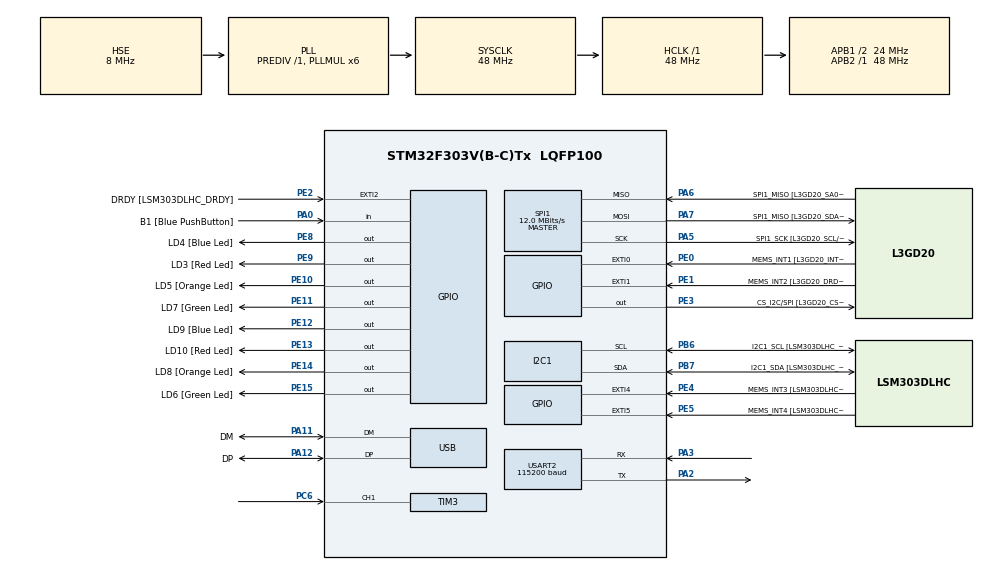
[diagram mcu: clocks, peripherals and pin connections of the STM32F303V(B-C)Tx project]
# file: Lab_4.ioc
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I2C1.Timing=0x00201D2B
I2C1.Timing-I2C=0x2000090E
Mcu.Family=STM32F3
Mcu.Name=STM32F303V(B-C)Tx
Mcu.Package=LQFP100
NVIC.PriorityGroup=NVIC_PRIORITYGROUP_0
NVIC.TIM2_IRQn=true\:0\:0\:false\:false\:true\:true\:true\:true
NVIC.TIM3_IRQn=true\:0\:0\:false\:false\:true\:true\:true\:true
PA0.GPIO_Label=B1 [Blue PushButton]
PA0.Signal=GPIO_Input
PA11.GPIO_Label=DM
PA11.Mode=Device
PA11.Signal=USB_DM
PA12.GPIO_Label=DP
PA12.Mode=Device
PA12.Signal=USB_DP
PA13.GPIO_Label=SWDIO
PA13.Mode=Serial_Wire
PA13.Signal=SYS_JTMS-SWDIO
PA14.GPIO_Label=SWCLK
PA14.Mode=Serial_Wire
PA14.Signal=SYS_JTCK-SWCLK
PA2.Mode=Asynchronous
PA2.Signal=USART2_TX
PA3.Mode=Asynchronous
PA3.Signal=USART2_RX
PA5.GPIO_Label=SPI1_SCK [L3GD20_SCL/SPC]
PA5.Mode=Full_Duplex_Master
PA5.Signal=SPI1_SCK
PA6.GPIO_Label=SPI1_MISO [L3GD20_SA0/SDO]
PA6.Mode=Full_Duplex_Master
PA6.Signal=SPI1_MISO
PA7.GPIO_Label=SPI1_MISO [L3GD20_SDA/SDI/SDO]
PA7.Mode=Full_Duplex_Master
PA7.Signal=SPI1_MOSI
PB3.GPIO_Label=SWO
PB3.Signal=SYS_JTDO-TRACESWO
PB6.GPIO_Label=I2C1_SCL [LSM303DLHC_SCL]
PB6.GPIO_Pu=GPIO_PULLUP
PB6.Mode=I2C
PB6.Signal=I2C1_SCL
PB7.GPIO_Label=I2C1_SDA [LSM303DLHC_SDA]
PB7.GPIO_Pu=GPIO_PULLUP
PB7.Mode=I2C
PB7.Signal=I2C1_SDA
PC14-OSC32_IN.GPIO_Label=OSC32_IN
PC14-OSC32_IN.Signal=RCC_OSC32_IN
PC15-OSC32_OUT.GPIO_Label=OSC32_OUT
PC15-OSC32_OUT.Signal=RCC_OSC32_OUT
PC6.Signal=S_TIM3_CH1
PE0.GPIO_Label=MEMS_INT1 [L3GD20_INT1]
PE0.GPIO_ModeDefaultEXTI=GPIO_MODE_EVT_RISING
PE0.Signal=GPXTI0
PE1.GPIO_Label=MEMS_INT2 [L3GD20_DRDY/INT2]
PE1.GPIO_ModeDefaultEXTI=GPIO_MODE_EVT_RISING
PE1.Signal=GPXTI1
PE10.GPIO_Label=LD5 [Orange Led]
PE10.Signal=GPIO_Output
PE11.GPIO_Label=LD7 [Green Led]
PE11.Signal=GPIO_Output
PE12.GPIO_Label=LD9 [Blue Led]
PE12.Signal=GPIO_Output
PE13.GPIO_Label=LD10 [Red Led]
PE13.Signal=GPIO_Output
PE14.GPIO_Label=LD8 [Orange Led]
PE14.Signal=GPIO_Output
PE15.GPIO_Label=LD6 [Green Led]
PE15.Signal=GPIO_Output
PE2.GPIO_Label=DRDY [LSM303DLHC_DRDY]
PE2.GPIO_ModeDefaultEXTI=GPIO_MODE_EVT_RISING
PE2.Signal=GPXTI2
PE3.GPIO_Label=CS_I2C/SPI [L3GD20_CS_I2C/SPI]
PE3.Signal=GPIO_Output
PE4.GPIO_Label=MEMS_INT3 [LSM303DLHC_INT1]
PE4.GPIO_ModeDefaultEXTI=GPIO_MODE_EVT_RISING
PE4.Signal=GPXTI4
PE5.GPIO_Label=MEMS_INT4 [LSM303DLHC_INT2]
PE5.GPIO_ModeDefaultEXTI=GPIO_MODE_EVT_RISING
PE5.Signal=GPXTI5
PE8.GPIO_Label=LD4 [Blue Led]
PE8.Signal=GPIO_Output
PE9.GPIO_Label=LD3 [Red Led]
PE9.Signal=GPIO_Output
PF0-OSC_IN.GPIO_Label=OSC_IN
PF0-OSC_IN.Mode=HSE-External-Clock-Source
PF0-OSC_IN.Signal=RCC_OSC_IN
PF1-OSC_OUT.GPIO_Label=OSC_OUT
PF1-OSC_OUT.Signal=RCC_OSC_OUT
ProjectManager.HeapSize=0x200
ProjectManager.StackSize=0x400
ProjectManager.TargetToolchain=CMake
RCC.AHBFreq_Value=48000000
RCC.APB1CLKDivider=RCC_HCLK_DIV2
RCC.APB1Freq_Value=24000000
RCC.APB1TimFreq_Value=48000000
RCC.APB2Freq_Value=48000000
RCC.APB2TimFreq_Value=48000000
RCC.CortexFreq_Value=48000000
RCC.HCLKFreq_Value=48000000
RCC.HSE_VALUE=8000000
RCC.HSI_VALUE=8000000
RCC.LSE_VALUE=32768
RCC.PLLMUL=RCC_PLL_MUL6
RCC.SYSCLKFreq_VALUE=48000000
RCC.SYSCLKSourceVirtual=RCC_SYSCLKSOURCE_PLLCLK
RCC.USBFreq_Value=48000000
SH.S_TIM3_CH1.0=TIM3_CH1,Input_Capture1_from_TI1
SPI1.BaudRatePrescaler=SPI_BAUDRATEPRESCALER_4
SPI1.BaudRatePrescaler-Full_Duplex_Master=SPI_BAUDRATEPRESCALER_2
SPI1.CalculateBaudRate=12.0 MBits/s
SPI1.CalculateBaudRate-Full_Duplex_Master=24.0 MBits/s
SPI1.Direction=SPI_DIRECTION_2LINES
SPI1.Mode=SPI_MODE_MASTER
SPI1.Mode-Full_Duplex_Master=SPI_MODE_MASTER
SPI1.VirtualType=VM_MASTER
TIM2.Period=999999
TIM2.Prescaler=47
TIM3.Channel-Input_Capture1_from_TI1=TIM_CHANNEL_1
TIM3.Period=999
TIM3.Prescaler=47
USART2.BaudRate=115200
USART2.VirtualMode-Asynchronous=VM_ASYNC
VP_TIM2_VS_ClockSourceINT.Mode=Internal
VP_TIM3_VS_ClockSourceINT.Mode=Internal
board=STM32F3DISCOVERY

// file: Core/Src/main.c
/* USER CODE BEGIN Header */
/**
  ******************************************************************************
  * @file           : main.c
  * @brief          : Main program body
  ******************************************************************************
  * @attention
  *
  * Copyright (c) 2026 STMicroelectronics.
  * All rights reserved.
  *
  * This software is licensed under terms that can be found in the LICENSE file
  * in the root directory of this software component.
  * If no LICENSE file comes with this software, it is provided AS-IS.
  *
  ******************************************************************************
  */
/* USER CODE END Header */
#include "main.h"
#include "stdio.h"

I2C_HandleTypeDef hi2c1;

SPI_HandleTypeDef hspi1;

TIM_HandleTypeDef htim2;
TIM_HandleTypeDef htim3;

UART_HandleTypeDef huart2;

PCD_HandleTypeDef hpcd_USB_FS;

void SystemClock_Config(void);
static void MX_GPIO_Init(void);
static void MX_I2C1_Init(void);
static void MX_SPI1_Init(void);
static void MX_TIM2_Init(void);
static void MX_TIM3_Init(void);
static void MX_USART2_UART_Init(void);
static void MX_USB_PCD_Init(void);

/* USER CODE BEGIN 0 */

//Task 1
// void delay_ms(uint32_t ms){
//   __HAL_TIM_SET_COUNTER(&htim2, 0);

//   HAL_TIM_Base_Start(&htim2);

//   for (uint32_t i = 0; i < ms; i++) {
//     while(__HAL_TIM_GET_COUNTER(&htim2) < 900) {
//       // Waste time cuz Polling
//     }

//     __HAL_TIM_SET_COUNTER(&htim2, 0);
//   }
//   HAL_TIM_Base_Stop(&htim2);
// }

//Task 2
// void HAL_TIM_PeriodElapsedCallback( TIM_HandleTypeDef *htim){
//   if (htim->Instance == TIM2) {
//     HAL_GPIO_TogglePin(GPIOE, GPIO_PIN_10);
//   }
// }

// //Task 3
// static volatile int CountA = 0;
// static volatile int CountB = 0;
// static volatile int CountC = 0;

// void HAL_TIM_PeriodElapsedCallback( TIM_HandleTypeDef *htim){
//   if (htim->Instance == TIM2) {
//     CountA ++;
//     CountB ++;
//     CountC ++;

//     if (CountA >= 500) {
//       CountA = 0;
//       HAL_GPIO_TogglePin(GPIOE, GPIO_PIN_10);
//     }

//     if (CountB >= 200) {
//       CountB = 0;
//       HAL_GPIO_TogglePin(GPIOE, GPIO_PIN_11);
//     }

//     if (CountC >= 100) {
//       CountC = 0;
//       HAL_GPIO_TogglePin(GPIOE, GPIO_PIN_12);
//     }
//   }
// }

//Task 3 Extension
// volatile uint32_t overflow_count = 0;
// volatile uint32_t last_capture = 0;
// char msg[64]; // Buffer for the string
// float frequency; // Matches the variable in your callback

volatile float frequency = 0.0f;
volatile uint32_t overflow_count = 0;
volatile uint32_t last_capture = 0;
char msg[64];
void HAL_TIM_PeriodElapsedCallback(TIM_HandleTypeDef *htim) {
    if (htim->Instance == TIM3) {
        overflow_count++;
    }
}

void HAL_TIM_IC_CaptureCallback(TIM_HandleTypeDef *htim) {
    if (htim->Instance == TIM3) {
        uint32_t current_capture = HAL_TIM_ReadCapturedValue(htim, TIM_CHANNEL_1);

        // Calculate difference and handle 16-bit wrap-around
        int32_t diff = current_capture - last_capture;
        if (diff < 0) diff += 1000;

        uint32_t total_ticks = (overflow_count * 1000) + diff;

        if (total_ticks > 0) {
            frequency = 1000000.0f / total_ticks;
        }

        last_capture = current_capture;
        overflow_count = 0;
    }
}

//   uint32_t last_capture = 0, period = 0;
//   float frequency = 0;
//   char msg[50]; // Buffer for UART string

//   void HAL_TIM_IC_CaptureCallback(TIM_HandleTypeDef *htim) {
//     if (htim->Instance == TIM3) { // Use Instance check for safety
//         uint32_t current_capture = HAL_TIM_ReadCapturedValue(htim, TIM_CHANNEL_1);

//         if (current_capture >= last_capture) {
//             period = current_capture - last_capture;
//         } else {
//             // Must match the ARR value in CubeMX (Set it to 65535!)
//             period = (65535 - last_capture) + current_capture;
//         }

//         last_capture = current_capture;

//         if (period > 0) {
//             // 48MHz / (47+1) = 1,000,000Hz internal tick rate
//             frequency = 1000000.0f / period;
//         }
//     }
// }
/* USER CODE END 0 */

int main(void)
{

  /* MCU Configuration--------------------------------------------------------*/

  /* Reset of all peripherals, Initializes the Flash interface and the Systick. */

  HAL_Init();

  /* Configure the system clock */
  SystemClock_Config();

  /* Initialize all configured peripherals */
  MX_GPIO_Init();
  MX_I2C1_Init();
  MX_SPI1_Init();
  MX_TIM2_Init();
  MX_TIM3_Init();
  MX_USART2_UART_Init();
  MX_USB_PCD_Init();
  /* USER CODE BEGIN 2 */

  //Task 2 and 3
  //HAL_TIM_Base_Start_IT(&htim2);

  //Task 3 Extension
  HAL_TIM_Base_Start_IT(&htim3); // Starts the overflow interrupt
  HAL_TIM_IC_Start_IT(&htim3, TIM_CHANNEL_1); // Starts the capture interrupt

  /* USER CODE END 2 */

  /* Infinite loop */
  while (1)
  {
    int len = sprintf(msg, "Measured Frequency: %.2f Hz\r\n", frequency);
    HAL_UART_Transmit(&huart2, (uint8_t*)msg, len, HAL_MAX_DELAY);
    HAL_Delay(500);

  }
}

void SystemClock_Config(void)
{
  RCC_OscInitTypeDef RCC_OscInitStruct = {0};
  RCC_ClkInitTypeDef RCC_ClkInitStruct = {0};
  RCC_PeriphCLKInitTypeDef PeriphClkInit = {0};

  /** Initializes the RCC Oscillators according to the specified parameters
  * in the RCC_OscInitTypeDef structure.
  */
  RCC_OscInitStruct.OscillatorType = RCC_OSCILLATORTYPE_HSI|RCC_OSCILLATORTYPE_HSE;
  RCC_OscInitStruct.HSEState = RCC_HSE_BYPASS;
  RCC_OscInitStruct.HSEPredivValue = RCC_HSE_PREDIV_DIV1;
  RCC_OscInitStruct.HSIState = RCC_HSI_ON;
  RCC_OscInitStruct.HSICalibrationValue = RCC_HSICALIBRATION_DEFAULT;
  RCC_OscInitStruct.PLL.PLLState = RCC_PLL_ON;
  RCC_OscInitStruct.PLL.PLLSource = RCC_PLLSOURCE_HSE;
  RCC_OscInitStruct.PLL.PLLMUL = RCC_PLL_MUL6;
  if (HAL_RCC_OscConfig(&RCC_OscInitStruct) != HAL_OK)
  {
    Error_Handler();
  }

  /** Initializes the CPU, AHB and APB buses clocks
  */
  RCC_ClkInitStruct.ClockType = RCC_CLOCKTYPE_HCLK|RCC_CLOCKTYPE_SYSCLK
                              |RCC_CLOCKTYPE_PCLK1|RCC_CLOCKTYPE_PCLK2;
  RCC_ClkInitStruct.SYSCLKSource = RCC_SYSCLKSOURCE_PLLCLK;
  RCC_ClkInitStruct.AHBCLKDivider = RCC_SYSCLK_DIV1;
  RCC_ClkInitStruct.APB1CLKDivider = RCC_HCLK_DIV2;
  RCC_ClkInitStruct.APB2CLKDivider = RCC_HCLK_DIV1;

  if (HAL_RCC_ClockConfig(&RCC_ClkInitStruct, FLASH_LATENCY_1) != HAL_OK)
  {
    Error_Handler();
  }
  PeriphClkInit.PeriphClockSelection = RCC_PERIPHCLK_USB|RCC_PERIPHCLK_USART2
                              |RCC_PERIPHCLK_I2C1;
  PeriphClkInit.Usart2ClockSelection = RCC_USART2CLKSOURCE_PCLK1;
  PeriphClkInit.I2c1ClockSelection = RCC_I2C1CLKSOURCE_HSI;
  PeriphClkInit.USBClockSelection = RCC_USBCLKSOURCE_PLL;
  if (HAL_RCCEx_PeriphCLKConfig(&PeriphClkInit) != HAL_OK)
  {
    Error_Handler();
  }
}

static void MX_I2C1_Init(void)
{

  hi2c1.Instance = I2C1;
  hi2c1.Init.Timing = 0x00201D2B;
  hi2c1.Init.OwnAddress1 = 0;
  hi2c1.Init.AddressingMode = I2C_ADDRESSINGMODE_7BIT;
  hi2c1.Init.DualAddressMode = I2C_DUALADDRESS_DISABLE;
  hi2c1.Init.OwnAddress2 = 0;
  hi2c1.Init.OwnAddress2Masks = I2C_OA2_NOMASK;
  hi2c1.Init.GeneralCallMode = I2C_GENERALCALL_DISABLE;
  hi2c1.Init.NoStretchMode = I2C_NOSTRETCH_DISABLE;
  if (HAL_I2C_Init(&hi2c1) != HAL_OK)
  {
    Error_Handler();
  }

  /** Configure Analogue filter
  */
  if (HAL_I2CEx_ConfigAnalogFilter(&hi2c1, I2C_ANALOGFILTER_ENABLE) != HAL_OK)
  {
    Error_Handler();
  }

  /** Configure Digital filter
  */
  if (HAL_I2CEx_ConfigDigitalFilter(&hi2c1, 0) != HAL_OK)
  {
    Error_Handler();
  }

}

static void MX_SPI1_Init(void)
{

  /* SPI1 parameter configuration*/
  hspi1.Instance = SPI1;
  hspi1.Init.Mode = SPI_MODE_MASTER;
  hspi1.Init.Direction = SPI_DIRECTION_2LINES;
  hspi1.Init.DataSize = SPI_DATASIZE_4BIT;
  hspi1.Init.CLKPolarity = SPI_POLARITY_LOW;
  hspi1.Init.CLKPhase = SPI_PHASE_1EDGE;
  hspi1.Init.NSS = SPI_NSS_SOFT;
  hspi1.Init.BaudRatePrescaler = SPI_BAUDRATEPRESCALER_4;
  hspi1.Init.FirstBit = SPI_FIRSTBIT_MSB;
  hspi1.Init.TIMode = SPI_TIMODE_DISABLE;
  hspi1.Init.CRCCalculation = SPI_CRCCALCULATION_DISABLE;
  hspi1.Init.CRCPolynomial = 7;
  hspi1.Init.CRCLength = SPI_CRC_LENGTH_DATASIZE;
  hspi1.Init.NSSPMode = SPI_NSS_PULSE_ENABLE;
  if (HAL_SPI_Init(&hspi1) != HAL_OK)
  {
    Error_Handler();
  }

}

static void MX_TIM2_Init(void)
{

  TIM_ClockConfigTypeDef sClockSourceConfig = {0};
  TIM_MasterConfigTypeDef sMasterConfig = {0};

  htim2.Instance = TIM2;
  htim2.Init.Prescaler = 47;
  htim2.Init.CounterMode = TIM_COUNTERMODE_UP;
  htim2.Init.Period = 999999;
  htim2.Init.ClockDivision = TIM_CLOCKDIVISION_DIV1;
  htim2.Init.AutoReloadPreload = TIM_AUTORELOAD_PRELOAD_DISABLE;
  if (HAL_TIM_Base_Init(&htim2) != HAL_OK)
  {
    Error_Handler();
  }
  sClockSourceConfig.ClockSource = TIM_CLOCKSOURCE_INTERNAL;
  if (HAL_TIM_ConfigClockSource(&htim2, &sClockSourceConfig) != HAL_OK)
  {
    Error_Handler();
  }
  sMasterConfig.MasterOutputTrigger = TIM_TRGO_RESET;
  sMasterConfig.MasterSlaveMode = TIM_MASTERSLAVEMODE_DISABLE;
  if (HAL_TIMEx_MasterConfigSynchronization(&htim2, &sMasterConfig) != HAL_OK)
  {
    Error_Handler();
  }

}

static void MX_TIM3_Init(void)
{

  TIM_ClockConfigTypeDef sClockSourceConfig = {0};
  TIM_MasterConfigTypeDef sMasterConfig = {0};
  TIM_IC_InitTypeDef sConfigIC = {0};

  htim3.Instance = TIM3;
  htim3.Init.Prescaler = 47;
  htim3.Init.CounterMode = TIM_COUNTERMODE_UP;
  htim3.Init.Period = 999;
  htim3.Init.ClockDivision = TIM_CLOCKDIVISION_DIV1;
  htim3.Init.AutoReloadPreload = TIM_AUTORELOAD_PRELOAD_DISABLE;
  if (HAL_TIM_Base_Init(&htim3) != HAL_OK)
  {
    Error_Handler();
  }
  sClockSourceConfig.ClockSource = TIM_CLOCKSOURCE_INTERNAL;
  if (HAL_TIM_ConfigClockSource(&htim3, &sClockSourceConfig) != HAL_OK)
  {
    Error_Handler();
  }
  if (HAL_TIM_IC_Init(&htim3) != HAL_OK)
  {
    Error_Handler();
  }
  sMasterConfig.MasterOutputTrigger = TIM_TRGO_RESET;
  sMasterConfig.MasterSlaveMode = TIM_MASTERSLAVEMODE_DISABLE;
  if (HAL_TIMEx_MasterConfigSynchronization(&htim3, &sMasterConfig) != HAL_OK)
  {
    Error_Handler();
  }
  sConfigIC.ICPolarity = TIM_INPUTCHANNELPOLARITY_RISING;
  sConfigIC.ICSelection = TIM_ICSELECTION_DIRECTTI;
  sConfigIC.ICPrescaler = TIM_ICPSC_DIV1;
  sConfigIC.ICFilter = 0;
  if (HAL_TIM_IC_ConfigChannel(&htim3, &sConfigIC, TIM_CHANNEL_1) != HAL_OK)
  {
    Error_Handler();
  }

}

static void MX_USART2_UART_Init(void)
{

  huart2.Instance = USART2;
  huart2.Init.BaudRate = 115200;
  huart2.Init.WordLength = UART_WORDLENGTH_8B;
  huart2.Init.StopBits = UART_STOPBITS_1;
  huart2.Init.Parity = UART_PARITY_NONE;
  huart2.Init.Mode = UART_MODE_TX_RX;
  huart2.Init.HwFlowCtl = UART_HWCONTROL_NONE;
  huart2.Init.OverSampling = UART_OVERSAMPLING_16;
  huart2.Init.OneBitSampling = UART_ONE_BIT_SAMPLE_DISABLE;
  huart2.AdvancedInit.AdvFeatureInit = UART_ADVFEATURE_NO_INIT;
  if (HAL_UART_Init(&huart2) != HAL_OK)
  {
    Error_Handler();
  }

}

static void MX_USB_PCD_Init(void)
{

  hpcd_USB_FS.Instance = USB;
  hpcd_USB_FS.Init.dev_endpoints = 8;
  hpcd_USB_FS.Init.speed = PCD_SPEED_FULL;
  hpcd_USB_FS.Init.phy_itface = PCD_PHY_EMBEDDED;
  hpcd_USB_FS.Init.low_power_enable = DISABLE;
  hpcd_USB_FS.Init.battery_charging_enable = DISABLE;
  if (HAL_PCD_Init(&hpcd_USB_FS) != HAL_OK)
  {
    Error_Handler();
  }

}

static void MX_GPIO_Init(void)
{
  GPIO_InitTypeDef GPIO_InitStruct = {0};

  /* GPIO Ports Clock Enable */
  __HAL_RCC_GPIOE_CLK_ENABLE();
  __HAL_RCC_GPIOC_CLK_ENABLE();
  __HAL_RCC_GPIOF_CLK_ENABLE();
  __HAL_RCC_GPIOA_CLK_ENABLE();
  __HAL_RCC_GPIOB_CLK_ENABLE();

  /*Configure GPIO pin Output Level */
  HAL_GPIO_WritePin(GPIOE, CS_I2C_SPI_Pin|LD4_Pin|LD3_Pin|LD5_Pin
                          |LD7_Pin|LD9_Pin|LD10_Pin|LD8_Pin
                          |LD6_Pin, GPIO_PIN_RESET);

  /*Configure GPIO pins : DRDY_Pin MEMS_INT3_Pin MEMS_INT4_Pin MEMS_INT1_Pin
                           MEMS_INT2_Pin */
  GPIO_InitStruct.Pin = DRDY_Pin|MEMS_INT3_Pin|MEMS_INT4_Pin|MEMS_INT1_Pin
                          |MEMS_INT2_Pin;
  GPIO_InitStruct.Mode = GPIO_MODE_EVT_RISING;
  GPIO_InitStruct.Pull = GPIO_NOPULL;
  HAL_GPIO_Init(GPIOE, &GPIO_InitStruct);

  /*Configure GPIO pins : CS_I2C_SPI_Pin LD4_Pin LD3_Pin LD5_Pin
                           LD7_Pin LD9_Pin LD10_Pin LD8_Pin
                           LD6_Pin */
  GPIO_InitStruct.Pin = CS_I2C_SPI_Pin|LD4_Pin|LD3_Pin|LD5_Pin
                          |LD7_Pin|LD9_Pin|LD10_Pin|LD8_Pin
                          |LD6_Pin;
  GPIO_InitStruct.Mode = GPIO_MODE_OUTPUT_PP;
  GPIO_InitStruct.Pull = GPIO_NOPULL;
  GPIO_InitStruct.Speed = GPIO_SPEED_FREQ_LOW;
  HAL_GPIO_Init(GPIOE, &GPIO_InitStruct);

  /*Configure GPIO pin : B1_Pin */
  GPIO_InitStruct.Pin = B1_Pin;
  GPIO_InitStruct.Mode = GPIO_MODE_INPUT;
  GPIO_InitStruct.Pull = GPIO_NOPULL;
  HAL_GPIO_Init(B1_GPIO_Port, &GPIO_InitStruct);

}

void Error_Handler(void)
{
  __disable_irq();
  while (1)
  {
  }
}
